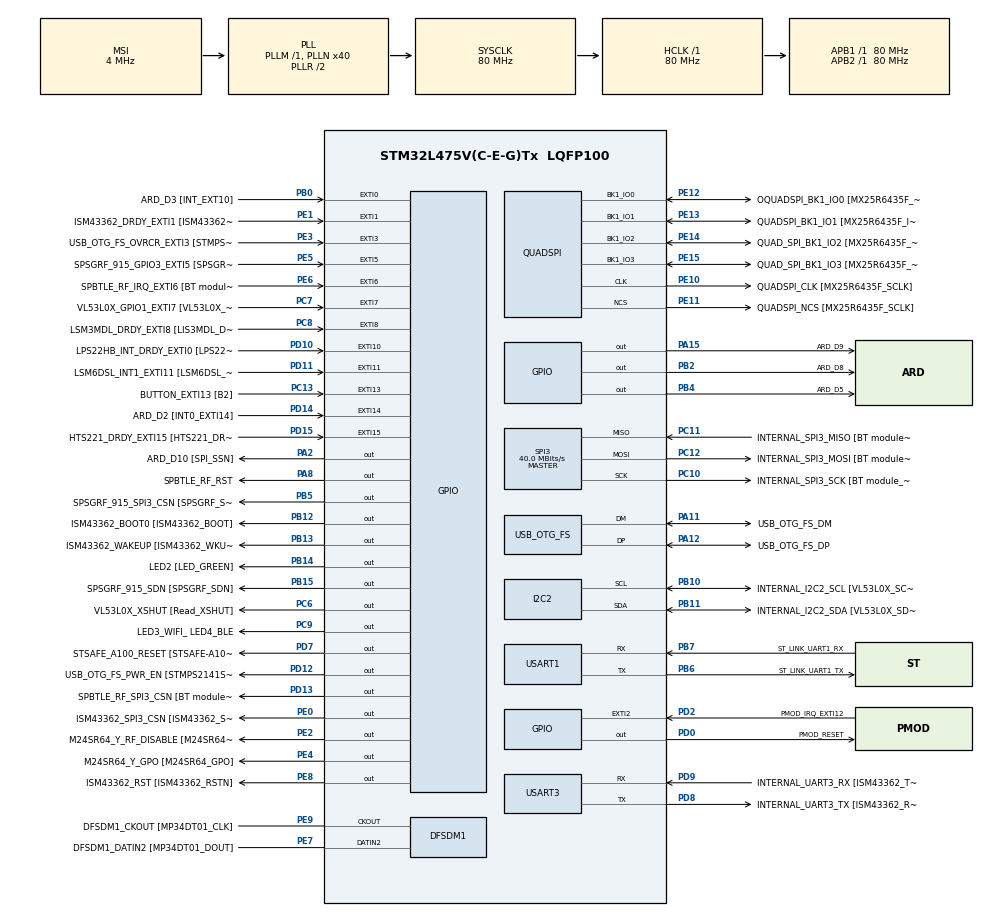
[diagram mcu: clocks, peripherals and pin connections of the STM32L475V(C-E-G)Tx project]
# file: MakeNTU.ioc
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I2C2.Timing=0x10D19CE4
Mcu.Family=STM32L4
Mcu.Name=STM32L475V(C-E-G)Tx
Mcu.Package=LQFP100
NVIC.EXTI15_10_IRQn=true\:0\:0\:false\:false\:true\:true\:true\:true
NVIC.EXTI9_5_IRQn=true\:0\:0\:false\:false\:true\:true\:true\:true
NVIC.PriorityGroup=NVIC_PRIORITYGROUP_4
PA0.GPIO_Label=ARD_D1 [UART4_TX]
PA0.Signal=UART4_TX
PA1.GPIO_Label=ARD_D0 [UART4_RX]
PA1.Signal=UART4_RX
PA10.GPIO_Label=USB_OTG_FS_ID
PA10.Signal=USB_OTG_FS_ID
PA11.GPIO_Label=USB_OTG_FS_DM
PA11.Mode=Device_Only
PA11.Signal=USB_OTG_FS_DM
PA12.GPIO_Label=USB_OTG_FS_DP
PA12.Mode=Device_Only
PA12.Signal=USB_OTG_FS_DP
PA13\ (JTMS-SWDIO).GPIO_Label=SYS_JTMS_SWDIO
PA13\ (JTMS-SWDIO).Mode=Serial_Wire
PA13\ (JTMS-SWDIO).Signal=SYS_JTMS-SWDIO
PA14\ (JTCK-SWCLK).GPIO_Label=SYS_JTCK_SWCLK
PA14\ (JTCK-SWCLK).Mode=Serial_Wire
PA14\ (JTCK-SWCLK).Signal=SYS_JTCK-SWCLK
PA15\ (JTDI).GPIO_Label=ARD_D9
PA15\ (JTDI).Signal=GPIO_Output
PA2.GPIO_Label=ARD_D10 [SPI_SSN]
PA2.Signal=GPIO_Output
PA3.GPIO_Label=ARD_D4
PA3.Signal=S_TIM2_CH4
PA4.GPIO_Label=ARD_D7
PA4.Signal=ADCx_IN9
PA5.GPIO_Label=ARD_D13 [SPI1_SCK]
PA5.Signal=SPI1_SCK
PA6.GPIO_Label=ARD_D12 [SPI1_MISO]
PA6.Signal=SPI1_MISO
PA7.GPIO_Label=ARD_D11 [SPI1_MOSI]
PA7.Signal=SPI1_MOSI
PA8.GPIO_Label=SPBTLE_RF_RST
PA8.Signal=GPIO_Output
PA9.GPIO_Label=USB_OTG_FS_VBUS [STMPS2141STR_OUT]
PA9.Signal=USB_OTG_FS_VBUS
PB0.GPIO_Label=ARD_D3 [INT_EXT10]
PB0.Signal=GPXTI0
PB1.GPIO_Label=ARD_D6 [ADC1_IN6]
PB1.Signal=ADCx_IN16
PB10.GPIO_Label=INTERNAL_I2C2_SCL [VL53L0X_SCL]
PB10.GPIO_Pu=GPIO_PULLUP
PB10.Mode=I2C
PB10.Signal=I2C2_SCL
PB11.GPIO_Label=INTERNAL_I2C2_SDA [VL53L0X_SDA]
PB11.GPIO_Pu=GPIO_PULLUP
PB11.Mode=I2C
PB11.Signal=I2C2_SDA
PB12.GPIO_Label=ISM43362_BOOT0 [ISM43362_BOOT]
PB12.Signal=GPIO_Output
PB13.GPIO_Label=ISM43362_WAKEUP [ISM43362_WKUP]
PB13.Signal=GPIO_Output
PB14.GPIO_Label=LED2 [LED_GREEN]
PB14.Signal=GPIO_Output
PB15.GPIO_Label=SPSGRF_915_SDN [SPSGRF_SDN]
PB15.Signal=GPIO_Output
PB2.GPIO_Label=ARD_D8
PB2.Signal=GPIO_Output
PB3\ (JTDO-TRACESWO).GPIO_Label=SYS_JTD0_SWO
PB3\ (JTDO-TRACESWO).Signal=SYS_JTDO-SWO
PB4\ (NJTRST).GPIO_Label=ARD_D5
PB4\ (NJTRST).Signal=GPIO_Output
PB5.GPIO_Label=SPSGRF_915_SPI3_CSN [SPSGRF_SPI_CS]
PB5.PinState=GPIO_PIN_SET
PB5.Signal=GPIO_Output
PB6.GPIO_Label=ST_LINK_UART1_TX
PB6.Mode=Asynchronous
PB6.Signal=USART1_TX
PB7.GPIO_Label=ST_LINK_UART1_RX
PB7.Mode=Asynchronous
PB7.Signal=USART1_RX
PB8.GPIO_Label=ARD_D15 [I2C1_SCL]
PB8.Signal=I2C1_SCL
PB9.GPIO_Label=ARD_D14 [I2C1_SDA]
PB9.Signal=I2C1_SDA
PC0.GPIO_Label=ARD_A5 [ADC]
PC0.Signal=ADCx_IN1
PC1.GPIO_Label=ARD_A4 [ADC]
PC1.Signal=ADCx_IN2
PC10.GPIO_Label=INTERNAL_SPI3_SCK [BT module_SPI_SCLK] [ISM43362_SCK]
PC10.Mode=Full_Duplex_Master
PC10.Signal=SPI3_SCK
PC11.GPIO_Label=INTERNAL_SPI3_MISO [BT module_SPI_MISO] [ISM43362_MISO]
PC11.Mode=Full_Duplex_Master
PC11.Signal=SPI3_MISO
PC12.GPIO_Label=INTERNAL_SPI3_MOSI [BT module_SPI_MOSI] [ISM43362_MOSI]
PC12.Mode=Full_Duplex_Master
PC12.Signal=SPI3_MOSI
PC13.GPIO_Label=BUTTON_EXTI13 [B2]
PC13.GPIO_ModeDefaultEXTI=GPIO_MODE_IT_FALLING
PC13.Signal=GPXTI13
PC14-OSC32_IN\ (PC14).Mode=LSE-External-Oscillator
PC14-OSC32_IN\ (PC14).Signal=RCC_OSC32_IN
PC15-OSC32_OUT\ (PC15).Mode=LSE-External-Oscillator
PC15-OSC32_OUT\ (PC15).Signal=RCC_OSC32_OUT
PC2.GPIO_Label=ARD_A3 [ADC]
PC2.Signal=ADCx_IN3
PC3.GPIO_Label=ARD_A2 [ADC]
PC3.Signal=ADCx_IN4
PC4.GPIO_Label=ARD_A1 [ADC]
PC4.Signal=ADCx_IN13
PC5.GPIO_Label=ARD_A0 [ADC]
PC5.Signal=ADCx_IN14
PC6.GPIO_Label=VL53L0X_XSHUT [Read_XSHUT]
PC6.Signal=GPIO_Output
PC7.GPIO_Label=VL53L0X_GPIO1_EXTI7 [VL53L0X_GPIO1]
PC7.Signal=GPXTI7
PC8.GPIO_Label=LSM3MDL_DRDY_EXTI8 [LIS3MDL_DRDY]
PC8.Signal=GPXTI8
PC9.GPIO_Label=LED3_WIFI_ LED4_BLE
PC9.Signal=GPIO_Output
PD0.GPIO_Label=PMOD_RESET
PD0.Signal=GPIO_Output
PD1.GPIO_Label=PMOD_SPI2_SCK
PD1.Signal=SPI2_SCK
PD10.GPIO_Label=LPS22HB_INT_DRDY_EXTI0 [LPS22HB_INT_DRDY] 
PD10.Signal=GPXTI10
PD11.GPIO_Label=LSM6DSL_INT1_EXTI11 [LSM6DSL_INT1]
PD11.Signal=GPXTI11
PD12.GPIO_Label=USB_OTG_FS_PWR_EN [STMPS2141STR_EN]
PD12.Signal=GPIO_Output
PD13.GPIO_Label=SPBTLE_RF_SPI3_CSN [BT module_SPI_CS]
PD13.PinState=GPIO_PIN_SET
PD13.Signal=GPIO_Output
PD14.GPIO_Label=ARD_D2 [INT0_EXTI14]
PD14.Signal=GPXTI14
PD15.GPIO_Label=HTS221_DRDY_EXTI15 [HTS221_DRDY]
PD15.Signal=GPXTI15
PD2.GPIO_Label=PMOD_IRQ_EXTI12
PD2.Signal=GPXTI2
PD3.GPIO_Label=PMOD_UART2_CTS
PD3.Signal=USART2_CTS
PD4.GPIO_Label=PMOD_UART2_RTS
PD4.Signal=USART2_RTS
PD5.GPIO_Label=PMOD_UART2_TX
PD5.Signal=USART2_TX
PD6.GPIO_Label=PMOD_UART2_RX
PD6.Signal=USART2_RX
PD7.GPIO_Label=STSAFE_A100_RESET [STSAFE-A100_RESET]
PD7.Signal=GPIO_Output
PD8.GPIO_Label=INTERNAL_UART3_TX [ISM43362_RX]
PD8.Mode=Asynchronous
PD8.Signal=USART3_TX
PD9.GPIO_Label=INTERNAL_UART3_RX [ISM43362_TX]
PD9.Mode=Asynchronous
PD9.Signal=USART3_RX
PE0.GPIO_Label=ISM43362_SPI3_CSN [ISM43362_SSN]
PE0.PinState=GPIO_PIN_SET
PE0.Signal=GPIO_Output
PE1.GPIO_Label=ISM43362_DRDY_EXTI1 [ISM43362_DATARDY]
PE1.Signal=GPXTI1
PE10.GPIO_Label=QUADSPI_CLK [MX25R6435F_SCLK]
PE10.Mode=Single Bank
PE10.Signal=QUADSPI_CLK
PE11.GPIO_Label=QUADSPI_NCS [MX25R6435F_SCLK]
PE11.Mode=Single Bank
PE11.Signal=QUADSPI_NCS
PE12.GPIO_Label=OQUADSPI_BK1_IO0 [MX25R6435F_IO0]
PE12.Mode=Single Bank
PE12.Signal=QUADSPI_BK1_IO0
PE13.GPIO_Label=QUADSPI_BK1_IO1 [MX25R6435F_IO1]
PE13.Mode=Single Bank
PE13.Signal=QUADSPI_BK1_IO1
PE14.GPIO_Label=QUAD_SPI_BK1_IO2 [MX25R6435F_IO2]
PE14.Mode=Single Bank
PE14.Signal=QUADSPI_BK1_IO2
PE15.GPIO_Label=QUAD_SPI_BK1_IO3 [MX25R6435F_IO3]
PE15.Mode=Single Bank
PE15.Signal=QUADSPI_BK1_IO3
PE2.GPIO_Label=M24SR64_Y_RF_DISABLE [M24SR64_RFDIS]
PE2.Signal=GPIO_Output
PE3.GPIO_Label=USB_OTG_FS_OVRCR_EXTI3 [STMPS2141STR_FAULT]
PE3.Signal=GPXTI3
PE4.GPIO_Label=M24SR64_Y_GPO [M24SR64_GPO]
PE4.Signal=GPIO_Output
PE5.GPIO_Label=SPSGRF_915_GPIO3_EXTI5 [SPSGRF_GPIO_3]
PE5.Signal=GPXTI5
PE6.GPIO_Label=SPBTLE_RF_IRQ_EXTI6 [BT module_SPI_IRQ]
PE6.Signal=GPXTI6
PE7.GPIO_Label=DFSDM1_DATIN2 [MP34DT01_DOUT]
PE7.Signal=S_DATAIN2DFSDM1
PE8.GPIO_Label=ISM43362_RST [ISM43362_RSTN]
PE8.Signal=GPIO_Output
PE9.GPIO_Label=DFSDM1_CKOUT [MP34DT01_CLK]
PE9.Signal=S_CKOUTDFSDM1
ProjectManager.HeapSize=0x200
ProjectManager.StackSize=0x400
ProjectManager.TargetToolchain=STM32CubeIDE
QUADSPI.ClockPrescaler=2
QUADSPI.FifoThreshold=4
QUADSPI.FlashSize=23
QUADSPI.SampleShifting=QSPI_SAMPLE_SHIFTING_HALFCYCLE
RCC.ADCFreq_Value=48000000
RCC.AHBFreq_Value=80000000
RCC.APB1Freq_Value=80000000
RCC.APB1TimFreq_Value=80000000
RCC.APB2Freq_Value=80000000
RCC.APB2TimFreq_Value=80000000
RCC.CortexFreq_Value=80000000
RCC.HCLKFreq_Value=80000000
RCC.HSE_VALUE=8000000
RCC.HSI_VALUE=16000000
RCC.MSI_VALUE=4000000
RCC.PLLN=40
RCC.PLLSAI1N=24
RCC.SYSCLKFreq_VALUE=80000000
RCC.SYSCLKSource=RCC_SYSCLKSOURCE_PLLCLK
RCC.USBFreq_Value=48000000
RCC.VCOOutputFreq_Value=160000000
SH.ADCx_IN1.0=ADC1_IN1
SH.ADCx_IN13.0=ADC1_IN13
SH.ADCx_IN14.0=ADC1_IN14
SH.ADCx_IN16.0=ADC1_IN16
SH.ADCx_IN2.0=ADC1_IN2
SH.ADCx_IN3.0=ADC1_IN3
SH.ADCx_IN4.0=ADC1_IN4
SH.ADCx_IN9.0=ADC1_IN9
SH.S_CKOUTDFSDM1.0=DFSDM1_CKOUT,CKOUT
SH.S_CKOUTDFSDM1.1=DFSDM1_CKOUT,PDM_SPI_Input_from_ch12_and_Internal_Clock
SH.S_DATAIN2DFSDM1.0=DFSDM1_DATIN2,PDM_SPI_Input_from_ch12_and_Internal_Clock
SH.S_TIM2_CH4.0=TIM2_CH4
SPI3.CalculateBaudRate=40.0 MBits/s
SPI3.Direction=SPI_DIRECTION_2LINES
SPI3.Mode=SPI_MODE_MASTER
SPI3.VirtualType=VM_MASTER
USART1.VirtualMode-Asynchronous=VM_ASYNC
USART3.VirtualMode-Asynchronous=VM_ASYNC
USB_OTG_FS.VirtualMode=Device_Only
board=B-L475E-IOT01A2

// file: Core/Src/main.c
/* USER CODE BEGIN Header */
/**
  ******************************************************************************
  * @file           : main.c
  * @brief          : Main program body
  ******************************************************************************
  * @attention
  *
  * Copyright (c) 2026 STMicroelectronics.
  * All rights reserved.
  *
  * This software is licensed under terms that can be found in the LICENSE file
  * in the root directory of this software component.
  * If no LICENSE file comes with this software, it is provided AS-IS.
  *
  ******************************************************************************
  */
/* USER CODE END Header */
#include "main.h"

/* USER CODE BEGIN Includes */

#include "stm32l4xx_hal_adc_ex.h"
#include <stdio.h>
#include <string.h>
#if APP_USE_WIFI
#include "wifi.h"
#endif
#include "app_ws2812.h"

/* USER CODE END Includes */

DFSDM_Channel_HandleTypeDef hdfsdm1_channel1;

I2C_HandleTypeDef hi2c2;

QSPI_HandleTypeDef hqspi;

SPI_HandleTypeDef hspi3;

UART_HandleTypeDef huart1;
UART_HandleTypeDef huart3;

PCD_HandleTypeDef hpcd_USB_OTG_FS;

/* USER CODE BEGIN PV */

ADC_HandleTypeDef hadc1;
DMA_HandleTypeDef hdma_adc1;

static uint16_t adc_dma_buffer[APP_ADC_DMA_BUFFER_SAMPLES];
static uint16_t s_hit_thr_high[2] = { APP_EMG_HIT_THRESHOLD_HIGH, APP_EMG_HIT_THRESHOLD_HIGH };
static uint16_t s_hit_thr_low[2] = { APP_EMG_HIT_THRESHOLD_LOW, APP_EMG_HIT_THRESHOLD_LOW };
static volatile uint8_t s_calib_request = 0U;
static uint8_t s_calibrating = 0U;
static uint32_t s_calib_start_ms = 0U;
static uint32_t s_calib_last_report_ms = 0U;
static uint64_t s_calib_sum[2] = { 0U, 0U };
static uint32_t s_calib_count = 0U;
static uint32_t s_effort_event_id = 0U;

#if APP_USE_WIFI
static const uint8_t s_wifi_remote_ip[4] = {
  APP_WIFI_REMOTE_IP0,
  APP_WIFI_REMOTE_IP1,
  APP_WIFI_REMOTE_IP2,
  APP_WIFI_REMOTE_IP3,
};
static int32_t s_wifi_socket = -1;
static uint16_t s_wifi_sent = 0U;
static uint8_t s_wifi_ap_ok = 0U;
#endif

/* USER CODE END PV */

void SystemClock_Config(void);
static void MX_GPIO_Init(void);
static void MX_DFSDM1_Init(void);
static void MX_I2C2_Init(void);
static void MX_QUADSPI_Init(void);
#if !APP_USE_WIFI
static void MX_SPI3_Init(void);
#endif
static void MX_USART1_UART_Init(void);
static void MX_USART3_UART_Init(void);
static void MX_USB_OTG_FS_PCD_Init(void);
/* USER CODE BEGIN PFP */

static void App_ADC_WithDma_Init(void);
static void App_AdcTriggerTimer_InitStart(void);
#if APP_USE_WIFI
static void App_DebugUart1(const char *msg);
static WIFI_Status_t App_TryWifiConnect(void);
static WIFI_Status_t App_WifiSendAll(const uint8_t *buf, uint16_t len, uint32_t timeout_ms);
static void App_WifiPollPcRx(void);
#endif

/* USER CODE END PFP */

/* USER CODE BEGIN 0 */

#if APP_USE_WIFI
static void App_DebugUart1(const char *msg)
{
  if (msg == NULL)
  {
    return;
  }
  (void)HAL_UART_Transmit(&huart1, (uint8_t *)msg, (uint16_t)strlen(msg), 400U);
}

static WIFI_Status_t App_TryWifiConnect(void)
{
  static const WIFI_Ecn_t ecn_list[] = {
    WIFI_ECN_WPA2_PSK,
    WIFI_ECN_WPA_WPA2_PSK,
    WIFI_ECN_WPA_PSK,
    WIFI_ECN_OPEN
  };
  static const char *ecn_name[] = {
    "WPA2_PSK",
    "WPA_WPA2_PSK",
    "WPA_PSK",
    "OPEN"
  };

  for (uint32_t i = 0; i < (uint32_t)(sizeof(ecn_list) / sizeof(ecn_list[0])); i++)
  {
    char msg[64];
    const char *pwd = APP_WIFI_PASSWORD;
    WIFI_Status_t st;
    if (ecn_list[i] == WIFI_ECN_OPEN)
    {
      pwd = "";
    }
    (void)snprintf(msg, sizeof(msg), "[WiFi] connect try ECN=%s\r\n", ecn_name[i]);
    App_DebugUart1(msg);
    st = WIFI_Connect(APP_WIFI_SSID, pwd, ecn_list[i]);
    (void)snprintf(msg, sizeof(msg), "[WiFi] connect status=%d\r\n", (int)st);
    App_DebugUart1(msg);
    if (st == WIFI_STATUS_OK)
    {
      (void)snprintf(msg, sizeof(msg), "[WiFi] connect ok with ECN=%s\r\n", ecn_name[i]);
      App_DebugUart1(msg);
      return WIFI_STATUS_OK;
    }
  }
  return WIFI_STATUS_ERROR;
}

static WIFI_Status_t App_WifiSendAll(const uint8_t *buf, uint16_t len, uint32_t timeout_ms)
{
  uint16_t sent_total = 0U;
  uint16_t sent_once = 0U;
  uint8_t guard = 0U;

  if ((buf == NULL) || (len == 0U) || (s_wifi_socket < 0))
  {
    return WIFI_STATUS_ERROR;
  }

  while (sent_total < len)
  {
    const WIFI_Status_t st = WIFI_SendData((uint32_t)s_wifi_socket, &buf[sent_total],
                                           (uint16_t)(len - sent_total), &sent_once, timeout_ms);
    if ((st != WIFI_STATUS_OK) || (sent_once == 0U))
    {
      return WIFI_STATUS_ERROR;
    }
    sent_total = (uint16_t)(sent_total + sent_once);
    if (++guard > 8U)
    {
      return WIFI_STATUS_ERROR;
    }
  }
  s_wifi_sent = sent_total;
  return WIFI_STATUS_OK;
}

static char s_pc_rxbuf[96];
static size_t s_pc_rxlen = 0U;

static void App_ParsePcCmdLine(char *line)
{
  while ((*line == ' ') || (*line == '\t'))
  {
    line++;
  }
  if (strncmp(line, "jdg:", 4) != 0)
  {
#if APP_PC_RX_LOG_UART
    if (line[0] != '\0')
    {
      char msg[120];
      (void)snprintf(msg, sizeof(msg), "[PC] tcp rx (not jdg): %.80s\r\n", line);
      App_DebugUart1(msg);
    }
#endif
    return;
  }
  line += 4;
  while ((*line == ' ') || (*line == '\t'))
  {
    line++;
  }
  if (strncmp(line, "perfect", 7) == 0)
  {
#if APP_USE_WS2812_JDG
    App_Ws2812_SetJudge("perfect");
#endif
    App_DebugUart1("[PC] jdg:perfect -> LED green (WS2812)\r\n");
  }
  else if (strncmp(line, "good", 4) == 0)
  {
#if APP_USE_WS2812_JDG
    App_Ws2812_SetJudge("good");
#endif
    App_DebugUart1("[PC] jdg:good -> LED yellow\r\n");
  }
  else if ((strncmp(line, "miss", 4) == 0) || (strncmp(line, "bad", 3) == 0))
  {
#if APP_USE_WS2812_JDG
    App_Ws2812_SetJudge("miss");
#endif
    App_DebugUart1("[PC] jdg:miss -> LED red\r\n");
  }
  else if (strncmp(line, "off", 3) == 0)
  {
#if APP_USE_WS2812_JDG
    App_Ws2812_SetJudge("off");
#endif
    App_DebugUart1("[PC] jdg:off -> LED clear\r\n");
  }
  else
  {
    char msg[120];
    (void)snprintf(msg, sizeof(msg), "[PC] jdg:? unknown arg: %.48s\r\n", line);
    App_DebugUart1(msg);
  }
}

static void App_AppendPcRxByte(uint8_t b)
{
  const char c = (char)b;
  if ((c == '\r') || (c == '\n'))
  {
    if (s_pc_rxlen < sizeof(s_pc_rxbuf))
    {
      s_pc_rxbuf[s_pc_rxlen] = '\0';
    }
    else
    {
      s_pc_rxbuf[sizeof(s_pc_rxbuf) - 1U] = '\0';
    }
    if (s_pc_rxlen > 0U)
    {
      App_ParsePcCmdLine(s_pc_rxbuf);
    }
    s_pc_rxlen = 0U;
    return;
  }
  if (s_pc_rxlen + 1U < sizeof(s_pc_rxbuf))
  {
    s_pc_rxbuf[s_pc_rxlen++] = (char)c;
  }
  else
  {
    s_pc_rxlen = 0U;
  }
}

static void App_WifiPollPcRx(void)
{
  if (s_wifi_socket < 0)
  {
    return;
  }
  for (;;)
  {
    uint8_t chunk[48];
    uint16_t n = 0U;
    const WIFI_Status_t st = WIFI_ReceiveData((uint32_t)s_wifi_socket, chunk, (uint16_t)sizeof(chunk), &n, 1U);
    if ((st != WIFI_STATUS_OK) || (n == 0U))
    {
      break;
    }
    for (uint16_t i = 0U; i < n; i++)
    {
      App_AppendPcRxByte(chunk[i]);
    }
  }
}
#endif

/**
 * Latest interleaved ADC pair (rank1=A0 PC5 IN14, rank2=A1 PC4 IN13).
 * Applies light IIR smoothing per channel (~same as legacy single-channel).
 */
static void App_AdcLatestSmoothed(uint16_t *out_avg0, uint16_t *out_avg1)
{
  static int32_t avg_q8[2] = { 0, 0 };
  uint32_t wr = APP_ADC_DMA_BUFFER_SAMPLES - __HAL_DMA_GET_COUNTER(&hdma_adc1);

  if (wr < 2U)
  {
    wr = APP_ADC_DMA_BUFFER_SAMPLES;
  }

  wr = ((wr / 2U) * 2U);
  if (wr < 2U)
  {
    wr = APP_ADC_DMA_BUFFER_SAMPLES;
  }

  const uint16_t x0 = adc_dma_buffer[wr - 2U];
  const uint16_t x1 = adc_dma_buffer[wr - 1U];

  for (uint32_t i = 0U; i < 2U; i++)
  {
    const uint16_t x = (i == 0U) ? x0 : x1;
    avg_q8[i] += ((((int32_t)x) << 8) - avg_q8[i]) >> 3;
    if (avg_q8[i] < 0)
    {
      avg_q8[i] = 0;
    }
    if (avg_q8[i] > (4095 << 8))
    {
      avg_q8[i] = (4095 << 8);
    }
  }
  *out_avg0 = (uint16_t)(avg_q8[0] >> 8);
  *out_avg1 = (uint16_t)(avg_q8[1] >> 8);
}

static uint8_t App_EmgHitDetectCh(uint8_t ch, uint16_t pulse, uint32_t now_ms)
{
  static uint8_t armed[2] = { 1U, 1U };
  static uint32_t last_hit_ms[2] = { 0U, 0U };
  static uint16_t prev_pulse[2] = { 0U, 0U };
  uint16_t rise = 0U;

  if (ch >= 2U)
  {
    return 0U;
  }

  if (pulse > prev_pulse[ch])
  {
    rise = (uint16_t)(pulse - prev_pulse[ch]);
  }
  prev_pulse[ch] = pulse;

  if ((now_ms - last_hit_ms[ch]) < APP_EMG_HIT_COOLDOWN_MS)
  {
    return 0U;
  }

  if (armed[ch] != 0U)
  {
    if ((pulse >= s_hit_thr_high[ch]) && (rise >= APP_EMG_HIT_MIN_RISE))
    {
      armed[ch] = 0U;
      last_hit_ms[ch] = now_ms;
      return 1U;
    }
  }
  else if (pulse <= s_hit_thr_low[ch])
  {
    armed[ch] = 1U;
  }

  return 0U;
}

static uint8_t App_UpdateEffortEvent(uint16_t level, uint32_t now_ms, char *out, size_t out_len)
{
  static uint8_t active = 0U;
  static uint32_t event_start_ms = 0U;
  static uint32_t high_time_ms = 0U;
  static uint32_t peak = 0U;
  static uint32_t first_high_ms = 0U;
  static uint32_t last_update_ms = 0U;
  static uint32_t below_since_ms = 0U;
  const uint8_t above_low = (level >= s_hit_thr_low[0]) ? 1U : 0U;
  const uint8_t above_high = (level >= s_hit_thr_high[0]) ? 1U : 0U;
  const uint32_t dt = (last_update_ms == 0U) ? APP_ADC_TX_PERIOD_MS : (now_ms - last_update_ms);
  last_update_ms = now_ms;

  if (active == 0U)
  {
    if (above_low != 0U)
    {
      active = 1U;
      event_start_ms = now_ms;
      high_time_ms = 0U;
      peak = level;
      first_high_ms = 0U;
      below_since_ms = 0U;
      if (above_high != 0U)
      {
        first_high_ms = now_ms;
        high_time_ms = dt;
      }
    }
    return 0U;
  }

  if (level > peak)
  {
    peak = level;
  }
  if (above_high != 0U)
  {
    if (first_high_ms == 0U)
    {
      first_high_ms = now_ms;
    }
    high_time_ms += dt;
    below_since_ms = 0U;
  }
  else if ((above_low == 0U) && (below_since_ms == 0U))
  {
    below_since_ms = now_ms;
  }
  else if (above_low != 0U)
  {
    below_since_ms = 0U;
  }

  if ((below_since_ms != 0U) && ((now_ms - below_since_ms) >= APP_EMG_EVENT_END_GAP_MS))
  {
    const uint32_t rise_ms = (first_high_ms > event_start_ms) ? (first_high_ms - event_start_ms) : 0U;
    const int n = snprintf(out, out_len, "evt:%lu high_ms:%lu peak:%lu rise_ms:%lu\r\n",
                           (unsigned long)(++s_effort_event_id),
                           (unsigned long)high_time_ms,
                           (unsigned long)peak,
                           (unsigned long)rise_ms);
    active = 0U;
    return (n > 0) ? 1U : 0U;
  }
  return 0U;
}

static void App_StartCalibration(uint32_t now_ms)
{
  const char *msg = "[CAL] start 10s relax — calibrate BOTH A0 + A1 (relax both sensors)\r\n";
  s_calibrating = 1U;
  s_calib_start_ms = now_ms;
  s_calib_last_report_ms = now_ms;
  s_calib_sum[0] = 0U;
  s_calib_sum[1] = 0U;
  s_calib_count = 0U;
  (void)HAL_UART_Transmit(&huart1, (uint8_t *)msg, (uint16_t)strlen(msg), 100U);
}

static void App_HandleCalibration(uint16_t avg0, uint16_t avg1, uint32_t now_ms)
{
  if (s_calibrating == 0U)
  {
    return;
  }

  s_calib_sum[0] += (uint64_t)avg0;
  s_calib_sum[1] += (uint64_t)avg1;
  s_calib_count++;

  if ((now_ms - s_calib_last_report_ms) >= 1000U)
  {
    char msg[64];
    const uint32_t elapsed = now_ms - s_calib_start_ms;
    const uint32_t left = (elapsed < APP_EMG_CALIBRATION_MS) ? (APP_EMG_CALIBRATION_MS - elapsed) : 0U;
    const int n = snprintf(msg, sizeof(msg), "[CAL] %lus left\r\n", (unsigned long)(left / 1000U));
    if (n > 0)
    {
      (void)HAL_UART_Transmit(&huart1, (uint8_t *)msg, (uint16_t)n, 100U);
    }
    s_calib_last_report_ms = now_ms;
  }

  if ((now_ms - s_calib_start_ms) >= APP_EMG_CALIBRATION_MS)
  {
    char msg[132];
    s_calibrating = 0U;

    if (s_calib_count > 0U)
    {
      for (uint32_t c = 0U; c < 2U; c++)
      {
        uint32_t baseline = (uint32_t)(s_calib_sum[c] / (uint64_t)s_calib_count);
        uint32_t low = baseline + APP_EMG_LOW_OFFSET;
        uint32_t high = baseline + APP_EMG_HIGH_OFFSET;
        if (low > 4095U)
        {
          low = 4095U;
        }
        if (high > 4095U)
        {
          high = 4095U;
        }
        if (high <= low)
        {
          high = (low < 4095U) ? (low + 1U) : 4095U;
        }
        s_hit_thr_low[c] = (uint16_t)low;
        s_hit_thr_high[c] = (uint16_t)high;

        (void)snprintf(msg, sizeof(msg), "[CAL] %s base=%lu L=%u H=%u\r\n",
                       (c == 0U) ? "A0(red)" : "A1(blue)",
                       (unsigned long)baseline, (unsigned)s_hit_thr_low[c], (unsigned)s_hit_thr_high[c]);
        (void)HAL_UART_Transmit(&huart1, (uint8_t *)msg, (uint16_t)strlen(msg), 100U);
      }
    }
  }
}

static void App_AdcTriggerTimer_InitStart(void)
{
  const uint32_t tim_clk = HAL_RCC_GetPCLK1Freq();
  const uint32_t tick_hz = 1000000U; /* 1 MHz timer tick for exact 1 kHz period math */
  const uint32_t psc = (tim_clk / tick_hz);
  const uint32_t arr = (tick_hz / APP_ADC_SAMPLE_RATE_HZ);

  if ((psc == 0U) || (arr == 0U))
  {
    Error_Handler();
  }

  __HAL_RCC_TIM6_CLK_ENABLE();
  TIM6->CR1 = 0U;
  TIM6->PSC = psc - 1U;
  TIM6->ARR = arr - 1U;
  TIM6->CR2 = (TIM6->CR2 & ~(7U << 4)) | (2U << 4); /* MMS=010: TRGO on update */
  TIM6->EGR = 1U;  /* UG: load prescaler/arr immediately */
  TIM6->SR = 0U;
}

static void App_ADC_WithDma_Init(void)
{
  ADC_MultiModeTypeDef multimode = {0};
  ADC_ChannelConfTypeDef sConfig = {0};

  hadc1.Instance = ADC1;
  hadc1.Init.ClockPrescaler = ADC_CLOCK_SYNC_PCLK_DIV4;
  hadc1.Init.Resolution = ADC_RESOLUTION_12B;
  hadc1.Init.DataAlign = ADC_DATAALIGN_RIGHT;
  hadc1.Init.ScanConvMode = ADC_SCAN_ENABLE;
  hadc1.Init.EOCSelection = ADC_EOC_SEQ_CONV;
  hadc1.Init.LowPowerAutoWait = DISABLE;
  hadc1.Init.ContinuousConvMode = DISABLE;
  hadc1.Init.NbrOfConversion = 2;
  hadc1.Init.DiscontinuousConvMode = DISABLE;
  hadc1.Init.ExternalTrigConv = ADC_EXTERNALTRIG_T6_TRGO;
  hadc1.Init.ExternalTrigConvEdge = ADC_EXTERNALTRIGCONVEDGE_RISING;
  hadc1.Init.DMAContinuousRequests = ENABLE;
  hadc1.Init.Overrun = ADC_OVR_DATA_OVERWRITTEN;
  hadc1.Init.OversamplingMode = DISABLE;
  if (HAL_ADC_Init(&hadc1) != HAL_OK)
  {
    Error_Handler();
  }

  multimode.Mode = ADC_MODE_INDEPENDENT;
  if (HAL_ADCEx_MultiModeConfigChannel(&hadc1, &multimode) != HAL_OK)
  {
    Error_Handler();
  }

  /* ARD_A0: PC5 = ADC1_IN14  |  ARD_A1: PC4 = ADC1_IN13 (one ADC, scan order per TIM6 tick) */
  sConfig.Channel = ADC_CHANNEL_14;
  sConfig.Rank = ADC_REGULAR_RANK_1;
  sConfig.SamplingTime = ADC_SAMPLETIME_47CYCLES_5;
  sConfig.SingleDiff = ADC_SINGLE_ENDED;
  sConfig.OffsetNumber = ADC_OFFSET_NONE;
  sConfig.Offset = 0;
  if (HAL_ADC_ConfigChannel(&hadc1, &sConfig) != HAL_OK)
  {
    Error_Handler();
  }

  sConfig.Channel = ADC_CHANNEL_13;
  sConfig.Rank = ADC_REGULAR_RANK_2;
  if (HAL_ADC_ConfigChannel(&hadc1, &sConfig) != HAL_OK)
  {
    Error_Handler();
  }

  __HAL_RCC_DMA1_CLK_ENABLE();
  /*
   * Older stm32l475xx.h packs omit RCC_AHB1ENR_DMAMUX1EN / DMAMUX1; chip still has DMAMUX (RM0351).
   */
#if defined(DMAMUX1)
  __HAL_RCC_DMAMUX1_CLK_ENABLE();
#else
  SET_BIT(RCC->AHB1ENR, 0x00000004UL);
  (void)READ_BIT(RCC->AHB1ENR, 0x00000004UL);
#endif

  hdma_adc1.Instance = DMA1_Channel1;
#if defined(DMAMUX1)
  hdma_adc1.Init.Request = DMA_REQUEST_ADC1;
#else
  /*
   * When CMSIS omits DMAMUX1, HAL configures DMA via DMA1_CSELR (4-bit index per channel), not DMAMUX
   * request line IDs. ST's STM32L4 ADC+DMA examples (e.g. NUCLEO-L496) use C1S = 0 for ADC1 -> DMA1 Ch1.
   */
  hdma_adc1.Init.Request = DMA_REQUEST_0;
#endif
  hdma_adc1.Init.Direction = DMA_PERIPH_TO_MEMORY;
  hdma_adc1.Init.PeriphInc = DMA_PINC_DISABLE;
  hdma_adc1.Init.MemInc = DMA_MINC_ENABLE;
  hdma_adc1.Init.PeriphDataAlignment = DMA_PDATAALIGN_HALFWORD;
  hdma_adc1.Init.MemDataAlignment = DMA_MDATAALIGN_HALFWORD;
  hdma_adc1.Init.Mode = DMA_CIRCULAR;
  hdma_adc1.Init.Priority = DMA_PRIORITY_HIGH;
  if (HAL_DMA_Init(&hdma_adc1) != HAL_OK)
  {
    Error_Handler();
  }

  __HAL_LINKDMA(&hadc1, DMA_Handle, hdma_adc1);

  if (HAL_ADCEx_Calibration_Start(&hadc1, ADC_SINGLE_ENDED) != HAL_OK)
  {
    Error_Handler();
  }

  HAL_NVIC_SetPriority(DMA1_Channel1_IRQn, 5, 0);
  HAL_NVIC_EnableIRQ(DMA1_Channel1_IRQn);

  App_AdcTriggerTimer_InitStart();

  if (HAL_ADC_Start_DMA(&hadc1, (uint32_t *)adc_dma_buffer, APP_ADC_DMA_BUFFER_SAMPLES) != HAL_OK)
  {
    Error_Handler();
  }
  TIM6->CR1 |= 1U; /* CEN: start 1kHz trigger timer */
}

/* USER CODE END 0 */

int main(void)
{

  /* MCU Configuration--------------------------------------------------------*/

  /* Reset of all peripherals, Initializes the Flash interface and the Systick. */
  HAL_Init();

  /* Configure the system clock */
  SystemClock_Config();

  /* Initialize all configured peripherals */
  MX_GPIO_Init();
  MX_DFSDM1_Init();
  MX_I2C2_Init();
  MX_QUADSPI_Init();
#if !APP_USE_WIFI
  MX_SPI3_Init();
#endif
  MX_USART1_UART_Init();
  MX_USART3_UART_Init();
  MX_USB_OTG_FS_PCD_Init();
  /* USER CODE BEGIN 2 */

#if APP_USE_WIFI
  /* EsWifi owns SPI3, NSS/SPI_GPIO, ISR (see SPI_WIFI_Init). Do not call MX_SPI3_Init when APP_USE_WIFI=1. */
  App_DebugUart1("[WiFi] init...\r\n");
  if (WIFI_Init() != WIFI_STATUS_OK)
  {
    App_DebugUart1("[WiFi] WIFI_Init FAILED\r\n");
  }
  else
  {
    App_DebugUart1("[WiFi] joining AP...\r\n");
    if (App_TryWifiConnect() != WIFI_STATUS_OK)
    {
      App_DebugUart1("[WiFi] WIFI_Connect FAILED (SSID/pwd/security?/2.4GHz/WPA3-only)\r\n");
    }
    else
    {
      s_wifi_ap_ok = 1U;
      uint8_t sta[4] = {0};
      if (WIFI_GetIP_Address(sta, 4U) == WIFI_STATUS_OK)
      {
        char ipmsg[56];
        (void)snprintf(ipmsg, sizeof(ipmsg), "[WiFi] STA IP %u.%u.%u.%u\r\n",
                       (unsigned)sta[0], (unsigned)sta[1], (unsigned)sta[2], (unsigned)sta[3]);
        App_DebugUart1(ipmsg);
      }
      {
        char tgt[56];
        (void)snprintf(tgt, sizeof(tgt), "[WiFi] TCP target %u.%u.%u.%u:%u\r\n",
                       (unsigned)APP_WIFI_REMOTE_IP0, (unsigned)APP_WIFI_REMOTE_IP1,
                       (unsigned)APP_WIFI_REMOTE_IP2, (unsigned)APP_WIFI_REMOTE_IP3,
                       (unsigned)APP_WIFI_REMOTE_PORT);
        App_DebugUart1(tgt);
      }
      App_DebugUart1("[WiFi] open TCP client (is Python listening? firewall?)\r\n");
      uint8_t tries = 20U;
      while (tries-- > 0U)
      {
        if (WIFI_OpenClientConnection(0U, WIFI_TCP_PROTOCOL, "adc_tcp", s_wifi_remote_ip,
                                      APP_WIFI_REMOTE_PORT, 0U) == WIFI_STATUS_OK)
        {
          s_wifi_socket = 0;
          App_DebugUart1("[WiFi] TCP connected -> hit:a0 (red) + hit:a1 (blue)\r\n");
          break;
        }
        HAL_Delay(250);
      }
      if (s_wifi_socket < 0)
      {
        App_DebugUart1("[WiFi] TCP FAILED (fix PC IP in main.h, port, run Python first, allow firewall)\r\n");
      }
    }
  }
#endif
  App_ADC_WithDma_Init();
  {
    char msg[80];
    const int n = snprintf(msg, sizeof(msg), "[ADC] sampling=%luHz tx=%lums\r\n",
                           (unsigned long)APP_ADC_SAMPLE_RATE_HZ, (unsigned long)APP_ADC_TX_PERIOD_MS);
    if (n > 0)
    {
      (void)HAL_UART_Transmit(&huart1, (uint8_t *)msg, (uint16_t)((size_t)n), 100U);
    }
  }

  App_Ws2812_Init();

  /* USER CODE END 2 */

  /* Infinite loop */
  while (1)
  {

    /* USER CODE BEGIN 3 */

    static uint32_t last_tx_ms;
    const uint32_t now = HAL_GetTick();
#if APP_USE_WIFI
    App_WifiPollPcRx();
#endif
#if APP_USE_WS2812_JDG
    App_Ws2812_Tick(now);
#endif
    if (s_calib_request != 0U)
    {
      s_calib_request = 0U;
      App_StartCalibration(now);
    }
    if ((now - last_tx_ms) >= APP_ADC_TX_PERIOD_MS)
    {
      last_tx_ms = now;
      uint16_t avg0 = 0U;
      uint16_t avg1 = 0U;
      App_AdcLatestSmoothed(&avg0, &avg1);

      App_HandleCalibration(avg0, avg1, now);

      const uint8_t hit0 = (s_calibrating != 0U) ? 0U : App_EmgHitDetectCh(0U, avg0, now);
      const uint8_t hit1 = (s_calibrating != 0U) ? 0U : App_EmgHitDetectCh(1U, avg1, now);

      char evt_line[96];
      const uint8_t evt_ready = (s_calibrating != 0U) ? 0U : App_UpdateEffortEvent(avg0, now, evt_line, sizeof(evt_line));

      char hit_line[2][72];
      size_t hit_len[2] = { 0U, 0U };

      if (hit0 != 0U)
      {
        const int n = snprintf(hit_line[0], sizeof(hit_line[0]),
                               "hit:a0 avg:%4u L:%u H:%u\r\n",
                               (unsigned)avg0, (unsigned)s_hit_thr_low[0], (unsigned)s_hit_thr_high[0]);
        if (n > 0)
        {
          hit_len[0] = ((size_t)n < sizeof(hit_line[0])) ? (size_t)n : sizeof(hit_line[0]);
        }
      }
      if (hit1 != 0U)
      {
        const int n = snprintf(hit_line[1], sizeof(hit_line[1]),
                               "hit:a1 avg:%4u L:%u H:%u\r\n",
                               (unsigned)avg1, (unsigned)s_hit_thr_low[1], (unsigned)s_hit_thr_high[1]);
        if (n > 0)
        {
          hit_len[1] = ((size_t)n < sizeof(hit_line[1])) ? (size_t)n : sizeof(hit_line[1]);
        }
      }

      if (hit_len[0] > 0U)
      {
        (void)HAL_UART_Transmit(&huart1, (uint8_t *)hit_line[0], (uint16_t)hit_len[0], 100U);
      }
      if (hit_len[1] > 0U)
      {
        (void)HAL_UART_Transmit(&huart1, (uint8_t *)hit_line[1], (uint16_t)hit_len[1], 100U);
      }
      if (evt_ready != 0U)
      {
        const size_t evt_len = strlen(evt_line);
        if (evt_len > 0U)
        {
          (void)HAL_UART_Transmit(&huart1, (uint8_t *)evt_line, (uint16_t)evt_len, 100U);
        }
      }
#if APP_USE_WIFI
      if (s_wifi_socket >= 0)
      {
        for (uint32_t hi = 0U; hi < 2U; hi++)
        {
          if (hit_len[hi] == 0U)
          {
            continue;
          }
          if (App_WifiSendAll((const uint8_t *)hit_line[hi], (uint16_t)hit_len[hi], 500U) != WIFI_STATUS_OK)
          {
            static uint32_t last_err_ms;
            if ((now - last_err_ms) >= 2000U)
            {
              last_err_ms = now;
              App_DebugUart1("[WiFi] WIFI_SendData failed\r\n");
            }
          }
        }
        if (evt_ready != 0U)
        {
          const size_t evt_len = strlen(evt_line);
          if (evt_len > 0U)
          {
            (void)App_WifiSendAll((const uint8_t *)evt_line, (uint16_t)evt_len, 500U);
          }
        }
      }
      else
      {
        if (s_wifi_ap_ok != 0U)
        {
          static uint32_t last_tcp_retry_ms;
          if ((now - last_tcp_retry_ms) >= 8000U)
          {
            last_tcp_retry_ms = now;
            if (WIFI_OpenClientConnection(0U, WIFI_TCP_PROTOCOL, "adc_tcp", s_wifi_remote_ip,
                                          APP_WIFI_REMOTE_PORT, 0U) == WIFI_STATUS_OK)
            {
              s_wifi_socket = 0;
              App_DebugUart1("[WiFi] TCP connected (retry)\r\n");
            }
          }
        }
        static uint32_t last_hint_ms;
        if ((now - last_hint_ms) >= 5000U)
        {
          last_hint_ms = now;
          App_DebugUart1("[WiFi] no socket: UART1 only; Python will stay empty\r\n");
        }
      }
#else
      if (hit_len[0] > 0U)
      {
        (void)HAL_UART_Transmit(&huart3, (uint8_t *)hit_line[0], (uint16_t)hit_len[0], 100U);
      }
      if (hit_len[1] > 0U)
      {
        (void)HAL_UART_Transmit(&huart3, (uint8_t *)hit_line[1], (uint16_t)hit_len[1], 100U);
      }
#endif
    }

    /* USER CODE END 3 */
  }
  /* USER CODE END 3 */
}

void SystemClock_Config(void)
{
  RCC_OscInitTypeDef RCC_OscInitStruct = {0};
  RCC_ClkInitTypeDef RCC_ClkInitStruct = {0};

  /** Configure the main internal regulator output voltage
  */
  if (HAL_PWREx_ControlVoltageScaling(PWR_REGULATOR_VOLTAGE_SCALE1) != HAL_OK)
  {
    Error_Handler();
  }

  /** Configure LSE Drive Capability
  */
  HAL_PWR_EnableBkUpAccess();
  __HAL_RCC_LSEDRIVE_CONFIG(RCC_LSEDRIVE_LOW);

  /** Initializes the RCC Oscillators according to the specified parameters
  * in the RCC_OscInitTypeDef structure.
  */
  RCC_OscInitStruct.OscillatorType = RCC_OSCILLATORTYPE_LSE|RCC_OSCILLATORTYPE_MSI;
  RCC_OscInitStruct.LSEState = RCC_LSE_ON;
  RCC_OscInitStruct.MSIState = RCC_MSI_ON;
  RCC_OscInitStruct.MSICalibrationValue = 0;
  RCC_OscInitStruct.MSIClockRange = RCC_MSIRANGE_6;
  RCC_OscInitStruct.PLL.PLLState = RCC_PLL_ON;
  RCC_OscInitStruct.PLL.PLLSource = RCC_PLLSOURCE_MSI;
  RCC_OscInitStruct.PLL.PLLM = 1;
  RCC_OscInitStruct.PLL.PLLN = 40;
  RCC_OscInitStruct.PLL.PLLP = RCC_PLLP_DIV7;
  RCC_OscInitStruct.PLL.PLLQ = RCC_PLLQ_DIV2;
  RCC_OscInitStruct.PLL.PLLR = RCC_PLLR_DIV2;
  if (HAL_RCC_OscConfig(&RCC_OscInitStruct) != HAL_OK)
  {
    Error_Handler();
  }

  /** Initializes the CPU, AHB and APB buses clocks
  */
  RCC_ClkInitStruct.ClockType = RCC_CLOCKTYPE_HCLK|RCC_CLOCKTYPE_SYSCLK
                              |RCC_CLOCKTYPE_PCLK1|RCC_CLOCKTYPE_PCLK2;
  RCC_ClkInitStruct.SYSCLKSource = RCC_SYSCLKSOURCE_PLLCLK;
  RCC_ClkInitStruct.AHBCLKDivider = RCC_SYSCLK_DIV1;
  RCC_ClkInitStruct.APB1CLKDivider = RCC_HCLK_DIV1;
  RCC_ClkInitStruct.APB2CLKDivider = RCC_HCLK_DIV1;

  if (HAL_RCC_ClockConfig(&RCC_ClkInitStruct, FLASH_LATENCY_4) != HAL_OK)
  {
    Error_Handler();
  }

  /** Enable MSI Auto calibration
  */
  HAL_RCCEx_EnableMSIPLLMode();
}

static void MX_DFSDM1_Init(void)
{

  hdfsdm1_channel1.Instance = DFSDM1_Channel1;
  hdfsdm1_channel1.Init.OutputClock.Activation = ENABLE;
  hdfsdm1_channel1.Init.OutputClock.Selection = DFSDM_CHANNEL_OUTPUT_CLOCK_SYSTEM;
  hdfsdm1_channel1.Init.OutputClock.Divider = 2;
  hdfsdm1_channel1.Init.Input.Multiplexer = DFSDM_CHANNEL_EXTERNAL_INPUTS;
  hdfsdm1_channel1.Init.Input.DataPacking = DFSDM_CHANNEL_STANDARD_MODE;
  hdfsdm1_channel1.Init.Input.Pins = DFSDM_CHANNEL_FOLLOWING_CHANNEL_PINS;
  hdfsdm1_channel1.Init.SerialInterface.Type = DFSDM_CHANNEL_SPI_RISING;
  hdfsdm1_channel1.Init.SerialInterface.SpiClock = DFSDM_CHANNEL_SPI_CLOCK_INTERNAL;
  hdfsdm1_channel1.Init.Awd.FilterOrder = DFSDM_CHANNEL_FASTSINC_ORDER;
  hdfsdm1_channel1.Init.Awd.Oversampling = 1;
  hdfsdm1_channel1.Init.Offset = 0;
  hdfsdm1_channel1.Init.RightBitShift = 0x00;
  if (HAL_DFSDM_ChannelInit(&hdfsdm1_channel1) != HAL_OK)
  {
    Error_Handler();
  }

}

static void MX_I2C2_Init(void)
{

  hi2c2.Instance = I2C2;
  hi2c2.Init.Timing = 0x10D19CE4;
  hi2c2.Init.OwnAddress1 = 0;
  hi2c2.Init.AddressingMode = I2C_ADDRESSINGMODE_7BIT;
  hi2c2.Init.DualAddressMode = I2C_DUALADDRESS_DISABLE;
  hi2c2.Init.OwnAddress2 = 0;
  hi2c2.Init.OwnAddress2Masks = I2C_OA2_NOMASK;
  hi2c2.Init.GeneralCallMode = I2C_GENERALCALL_DISABLE;
  hi2c2.Init.NoStretchMode = I2C_NOSTRETCH_DISABLE;
  if (HAL_I2C_Init(&hi2c2) != HAL_OK)
  {
    Error_Handler();
  }

  /** Configure Analogue filter
  */
  if (HAL_I2CEx_ConfigAnalogFilter(&hi2c2, I2C_ANALOGFILTER_ENABLE) != HAL_OK)
  {
    Error_Handler();
  }

  /** Configure Digital filter
  */
  if (HAL_I2CEx_ConfigDigitalFilter(&hi2c2, 0) != HAL_OK)
  {
    Error_Handler();
  }

}

static void MX_QUADSPI_Init(void)
{

  /* QUADSPI parameter configuration*/
  hqspi.Instance = QUADSPI;
  hqspi.Init.ClockPrescaler = 2;
  hqspi.Init.FifoThreshold = 4;
  hqspi.Init.SampleShifting = QSPI_SAMPLE_SHIFTING_HALFCYCLE;
  hqspi.Init.FlashSize = 23;
  hqspi.Init.ChipSelectHighTime = QSPI_CS_HIGH_TIME_1_CYCLE;
  hqspi.Init.ClockMode = QSPI_CLOCK_MODE_0;
  if (HAL_QSPI_Init(&hqspi) != HAL_OK)
  {
    Error_Handler();
  }

}

#if !APP_USE_WIFI
static void MX_SPI3_Init(void)
{

  /* SPI3 parameter configuration*/
  hspi3.Instance = SPI3;
  hspi3.Init.Mode = SPI_MODE_MASTER;
  hspi3.Init.Direction = SPI_DIRECTION_2LINES;
  hspi3.Init.DataSize = SPI_DATASIZE_4BIT;
  hspi3.Init.CLKPolarity = SPI_POLARITY_LOW;
  hspi3.Init.CLKPhase = SPI_PHASE_1EDGE;
  hspi3.Init.NSS = SPI_NSS_SOFT;
  hspi3.Init.BaudRatePrescaler = SPI_BAUDRATEPRESCALER_2;
  hspi3.Init.FirstBit = SPI_FIRSTBIT_MSB;
  hspi3.Init.TIMode = SPI_TIMODE_DISABLE;
  hspi3.Init.CRCCalculation = SPI_CRCCALCULATION_DISABLE;
  hspi3.Init.CRCPolynomial = 7;
  hspi3.Init.CRCLength = SPI_CRC_LENGTH_DATASIZE;
  hspi3.Init.NSSPMode = SPI_NSS_PULSE_ENABLE;
  if (HAL_SPI_Init(&hspi3) != HAL_OK)
  {
    Error_Handler();
  }

}
#endif

static void MX_USART1_UART_Init(void)
{

  huart1.Instance = USART1;
  huart1.Init.BaudRate = 115200;
  huart1.Init.WordLength = UART_WORDLENGTH_8B;
  huart1.Init.StopBits = UART_STOPBITS_1;
  huart1.Init.Parity = UART_PARITY_NONE;
  huart1.Init.Mode = UART_MODE_TX_RX;
  huart1.Init.HwFlowCtl = UART_HWCONTROL_NONE;
  huart1.Init.OverSampling = UART_OVERSAMPLING_16;
  huart1.Init.OneBitSampling = UART_ONE_BIT_SAMPLE_DISABLE;
  huart1.AdvancedInit.AdvFeatureInit = UART_ADVFEATURE_NO_INIT;
  if (HAL_UART_Init(&huart1) != HAL_OK)
  {
    Error_Handler();
  }

}

static void MX_USART3_UART_Init(void)
{

  huart3.Instance = USART3;
  huart3.Init.BaudRate = 115200;
  huart3.Init.WordLength = UART_WORDLENGTH_8B;
  huart3.Init.StopBits = UART_STOPBITS_1;
  huart3.Init.Parity = UART_PARITY_NONE;
  huart3.Init.Mode = UART_MODE_TX_RX;
  huart3.Init.HwFlowCtl = UART_HWCONTROL_NONE;
  huart3.Init.OverSampling = UART_OVERSAMPLING_16;
  huart3.Init.OneBitSampling = UART_ONE_BIT_SAMPLE_DISABLE;
  huart3.AdvancedInit.AdvFeatureInit = UART_ADVFEATURE_NO_INIT;
  if (HAL_UART_Init(&huart3) != HAL_OK)
  {
    Error_Handler();
  }

}

static void MX_USB_OTG_FS_PCD_Init(void)
{

  hpcd_USB_OTG_FS.Instance = USB_OTG_FS;
  hpcd_USB_OTG_FS.Init.dev_endpoints = 6;
  hpcd_USB_OTG_FS.Init.speed = PCD_SPEED_FULL;
  hpcd_USB_OTG_FS.Init.phy_itface = PCD_PHY_EMBEDDED;
  hpcd_USB_OTG_FS.Init.Sof_enable = DISABLE;
  hpcd_USB_OTG_FS.Init.low_power_enable = DISABLE;
  hpcd_USB_OTG_FS.Init.lpm_enable = DISABLE;
  hpcd_USB_OTG_FS.Init.battery_charging_enable = DISABLE;
  hpcd_USB_OTG_FS.Init.use_dedicated_ep1 = DISABLE;
  hpcd_USB_OTG_FS.Init.vbus_sensing_enable = DISABLE;
  if (HAL_PCD_Init(&hpcd_USB_OTG_FS) != HAL_OK)
  {
    Error_Handler();
  }

}

static void MX_GPIO_Init(void)
{
  GPIO_InitTypeDef GPIO_InitStruct = {0};

  /* GPIO Ports Clock Enable */
  __HAL_RCC_GPIOE_CLK_ENABLE();
  __HAL_RCC_GPIOC_CLK_ENABLE();
  __HAL_RCC_GPIOA_CLK_ENABLE();
  __HAL_RCC_GPIOB_CLK_ENABLE();
  __HAL_RCC_GPIOD_CLK_ENABLE();

  /*Configure GPIO pin Output Level */
  HAL_GPIO_WritePin(GPIOE, M24SR64_Y_RF_DISABLE_Pin|M24SR64_Y_GPO_Pin|ISM43362_RST_Pin, GPIO_PIN_RESET);

  /*Configure GPIO pin Output Level */
  HAL_GPIO_WritePin(GPIOA, ARD_D10_Pin|SPBTLE_RF_RST_Pin|ARD_D9_Pin, GPIO_PIN_RESET);

  /*Configure GPIO pin Output Level */
  HAL_GPIO_WritePin(GPIOB, ARD_D8_Pin|ISM43362_BOOT0_Pin|ISM43362_WAKEUP_Pin|LED2_Pin
                          |SPSGRF_915_SDN_Pin|ARD_D5_Pin, GPIO_PIN_RESET);

  /*Configure GPIO pin Output Level */
  HAL_GPIO_WritePin(GPIOD, USB_OTG_FS_PWR_EN_Pin|PMOD_RESET_Pin|STSAFE_A100_RESET_Pin, GPIO_PIN_RESET);

  /*Configure GPIO pin Output Level */
  HAL_GPIO_WritePin(SPBTLE_RF_SPI3_CSN_GPIO_Port, SPBTLE_RF_SPI3_CSN_Pin, GPIO_PIN_SET);

  /*Configure GPIO pin Output Level */
  HAL_GPIO_WritePin(GPIOC, VL53L0X_XSHUT_Pin|LED3_WIFI__LED4_BLE_Pin, GPIO_PIN_RESET);

  /*Configure GPIO pin Output Level */
  HAL_GPIO_WritePin(SPSGRF_915_SPI3_CSN_GPIO_Port, SPSGRF_915_SPI3_CSN_Pin, GPIO_PIN_SET);

  /*Configure GPIO pin Output Level */
  HAL_GPIO_WritePin(ISM43362_SPI3_CSN_GPIO_Port, ISM43362_SPI3_CSN_Pin, GPIO_PIN_SET);

  /*Configure GPIO pins : M24SR64_Y_RF_DISABLE_Pin M24SR64_Y_GPO_Pin ISM43362_RST_Pin ISM43362_SPI3_CSN_Pin */
  GPIO_InitStruct.Pin = M24SR64_Y_RF_DISABLE_Pin|M24SR64_Y_GPO_Pin|ISM43362_RST_Pin|ISM43362_SPI3_CSN_Pin;
  GPIO_InitStruct.Mode = GPIO_MODE_OUTPUT_PP;
  GPIO_InitStruct.Pull = GPIO_NOPULL;
  GPIO_InitStruct.Speed = GPIO_SPEED_FREQ_LOW;
  HAL_GPIO_Init(GPIOE, &GPIO_InitStruct);

  /*Configure GPIO pins : USB_OTG_FS_OVRCR_EXTI3_Pin SPSGRF_915_GPIO3_EXTI5_Pin SPBTLE_RF_IRQ_EXTI6_Pin ISM43362_DRDY_EXTI1_Pin */
  GPIO_InitStruct.Pin = USB_OTG_FS_OVRCR_EXTI3_Pin|SPSGRF_915_GPIO3_EXTI5_Pin|SPBTLE_RF_IRQ_EXTI6_Pin|ISM43362_DRDY_EXTI1_Pin;
  GPIO_InitStruct.Mode = GPIO_MODE_IT_RISING;
  GPIO_InitStruct.Pull = GPIO_NOPULL;
  HAL_GPIO_Init(GPIOE, &GPIO_InitStruct);

  /*Configure GPIO pin : BUTTON_EXTI13_Pin */
  GPIO_InitStruct.Pin = BUTTON_EXTI13_Pin;
  GPIO_InitStruct.Mode = GPIO_MODE_IT_FALLING;
  GPIO_InitStruct.Pull = GPIO_NOPULL;
  HAL_GPIO_Init(BUTTON_EXTI13_GPIO_Port, &GPIO_InitStruct);

  /*Configure GPIO pins : ARD_A5_Pin ARD_A4_Pin ARD_A3_Pin ARD_A2_Pin
                           ARD_A1_Pin ARD_A0_Pin */
  GPIO_InitStruct.Pin = ARD_A5_Pin|ARD_A4_Pin|ARD_A3_Pin|ARD_A2_Pin
                          |ARD_A1_Pin|ARD_A0_Pin;
  GPIO_InitStruct.Mode = GPIO_MODE_ANALOG_ADC_CONTROL;
  GPIO_InitStruct.Pull = GPIO_NOPULL;
  HAL_GPIO_Init(GPIOC, &GPIO_InitStruct);

  /*Configure GPIO pins : ARD_D1_Pin ARD_D0_Pin */
  GPIO_InitStruct.Pin = ARD_D1_Pin|ARD_D0_Pin;
  GPIO_InitStruct.Mode = GPIO_MODE_AF_PP;
  GPIO_InitStruct.Pull = GPIO_NOPULL;
  GPIO_InitStruct.Speed = GPIO_SPEED_FREQ_VERY_HIGH;
  GPIO_InitStruct.Alternate = GPIO_AF8_UART4;
  HAL_GPIO_Init(GPIOA, &GPIO_InitStruct);

  /*Configure GPIO pins : ARD_D10_Pin SPBTLE_RF_RST_Pin ARD_D9_Pin */
  GPIO_InitStruct.Pin = ARD_D10_Pin|SPBTLE_RF_RST_Pin|ARD_D9_Pin;
  GPIO_InitStruct.Mode = GPIO_MODE_OUTPUT_PP;
  GPIO_InitStruct.Pull = GPIO_NOPULL;
  GPIO_InitStruct.Speed = GPIO_SPEED_FREQ_LOW;
  HAL_GPIO_Init(GPIOA, &GPIO_InitStruct);

  /*Configure GPIO pin : ARD_D4_Pin */
  GPIO_InitStruct.Pin = ARD_D4_Pin;
  GPIO_InitStruct.Mode = GPIO_MODE_AF_PP;
  GPIO_InitStruct.Pull = GPIO_NOPULL;
  GPIO_InitStruct.Speed = GPIO_SPEED_FREQ_LOW;
  GPIO_InitStruct.Alternate = GPIO_AF1_TIM2;
  HAL_GPIO_Init(ARD_D4_GPIO_Port, &GPIO_InitStruct);

  /*Configure GPIO pin : ARD_D7_Pin */
  GPIO_InitStruct.Pin = ARD_D7_Pin;
  GPIO_InitStruct.Mode = GPIO_MODE_ANALOG_ADC_CONTROL;
  GPIO_InitStruct.Pull = GPIO_NOPULL;
  HAL_GPIO_Init(ARD_D7_GPIO_Port, &GPIO_InitStruct);

  /*Configure GPIO pins : ARD_D13_Pin ARD_D12_Pin ARD_D11_Pin */
  GPIO_InitStruct.Pin = ARD_D13_Pin|ARD_D12_Pin|ARD_D11_Pin;
  GPIO_InitStruct.Mode = GPIO_MODE_AF_PP;
  GPIO_InitStruct.Pull = GPIO_NOPULL;
  GPIO_InitStruct.Speed = GPIO_SPEED_FREQ_VERY_HIGH;
  GPIO_InitStruct.Alternate = GPIO_AF5_SPI1;
  HAL_GPIO_Init(GPIOA, &GPIO_InitStruct);

  /*Configure GPIO pin : ARD_D3_Pin */
  GPIO_InitStruct.Pin = ARD_D3_Pin;
  GPIO_InitStruct.Mode = GPIO_MODE_IT_RISING;
  GPIO_InitStruct.Pull = GPIO_NOPULL;
  HAL_GPIO_Init(ARD_D3_GPIO_Port, &GPIO_InitStruct);

  /*Configure GPIO pin : ARD_D6_Pin */
  GPIO_InitStruct.Pin = ARD_D6_Pin;
  GPIO_InitStruct.Mode = GPIO_MODE_ANALOG_ADC_CONTROL;
  GPIO_InitStruct.Pull = GPIO_NOPULL;
  HAL_GPIO_Init(ARD_D6_GPIO_Port, &GPIO_InitStruct);

  /*Configure GPIO pins : ARD_D8_Pin ISM43362_BOOT0_Pin ISM43362_WAKEUP_Pin LED2_Pin
                           SPSGRF_915_SDN_Pin ARD_D5_Pin SPSGRF_915_SPI3_CSN_Pin */
  GPIO_InitStruct.Pin = ARD_D8_Pin|ISM43362_BOOT0_Pin|ISM43362_WAKEUP_Pin|LED2_Pin
                          |SPSGRF_915_SDN_Pin|ARD_D5_Pin|SPSGRF_915_SPI3_CSN_Pin;
  GPIO_InitStruct.Mode = GPIO_MODE_OUTPUT_PP;
  GPIO_InitStruct.Pull = GPIO_NOPULL;
  GPIO_InitStruct.Speed = GPIO_SPEED_FREQ_LOW;
  HAL_GPIO_Init(GPIOB, &GPIO_InitStruct);

  /*Configure GPIO pins : LPS22HB_INT_DRDY_EXTI0_Pin LSM6DSL_INT1_EXTI11_Pin ARD_D2_Pin HTS221_DRDY_EXTI15_Pin
                           PMOD_IRQ_EXTI12_Pin */
  GPIO_InitStruct.Pin = LPS22HB_INT_DRDY_EXTI0_Pin|LSM6DSL_INT1_EXTI11_Pin|ARD_D2_Pin|HTS221_DRDY_EXTI15_Pin
                          |PMOD_IRQ_EXTI12_Pin;
  GPIO_InitStruct.Mode = GPIO_MODE_IT_RISING;
  GPIO_InitStruct.Pull = GPIO_NOPULL;
  HAL_GPIO_Init(GPIOD, &GPIO_InitStruct);

  /*Configure GPIO pins : USB_OTG_FS_PWR_EN_Pin SPBTLE_RF_SPI3_CSN_Pin PMOD_RESET_Pin STSAFE_A100_RESET_Pin */
  GPIO_InitStruct.Pin = USB_OTG_FS_PWR_EN_Pin|SPBTLE_RF_SPI3_CSN_Pin|PMOD_RESET_Pin|STSAFE_A100_RESET_Pin;
  GPIO_InitStruct.Mode = GPIO_MODE_OUTPUT_PP;
  GPIO_InitStruct.Pull = GPIO_NOPULL;
  GPIO_InitStruct.Speed = GPIO_SPEED_FREQ_LOW;
  HAL_GPIO_Init(GPIOD, &GPIO_InitStruct);

  /*Configure GPIO pins : VL53L0X_XSHUT_Pin LED3_WIFI__LED4_BLE_Pin */
  GPIO_InitStruct.Pin = VL53L0X_XSHUT_Pin|LED3_WIFI__LED4_BLE_Pin;
  GPIO_InitStruct.Mode = GPIO_MODE_OUTPUT_PP;
  GPIO_InitStruct.Pull = GPIO_NOPULL;
  GPIO_InitStruct.Speed = GPIO_SPEED_FREQ_LOW;
  HAL_GPIO_Init(GPIOC, &GPIO_InitStruct);

  /*Configure GPIO pins : VL53L0X_GPIO1_EXTI7_Pin LSM3MDL_DRDY_EXTI8_Pin */
  GPIO_InitStruct.Pin = VL53L0X_GPIO1_EXTI7_Pin|LSM3MDL_DRDY_EXTI8_Pin;
  GPIO_InitStruct.Mode = GPIO_MODE_IT_RISING;
  GPIO_InitStruct.Pull = GPIO_NOPULL;
  HAL_GPIO_Init(GPIOC, &GPIO_InitStruct);

  /*Configure GPIO pin : PMOD_SPI2_SCK_Pin */
  GPIO_InitStruct.Pin = PMOD_SPI2_SCK_Pin;
  GPIO_InitStruct.Mode = GPIO_MODE_AF_PP;
  GPIO_InitStruct.Pull = GPIO_NOPULL;
  GPIO_InitStruct.Speed = GPIO_SPEED_FREQ_VERY_HIGH;
  GPIO_InitStruct.Alternate = GPIO_AF5_SPI2;
  HAL_GPIO_Init(PMOD_SPI2_SCK_GPIO_Port, &GPIO_InitStruct);

  /*Configure GPIO pins : PMOD_UART2_CTS_Pin PMOD_UART2_RTS_Pin PMOD_UART2_TX_Pin PMOD_UART2_RX_Pin */
  GPIO_InitStruct.Pin = PMOD_UART2_CTS_Pin|PMOD_UART2_RTS_Pin|PMOD_UART2_TX_Pin|PMOD_UART2_RX_Pin;
  GPIO_InitStruct.Mode = GPIO_MODE_AF_PP;
  GPIO_InitStruct.Pull = GPIO_NOPULL;
  GPIO_InitStruct.Speed = GPIO_SPEED_FREQ_VERY_HIGH;
  GPIO_InitStruct.Alternate = GPIO_AF7_USART2;
  HAL_GPIO_Init(GPIOD, &GPIO_InitStruct);

  /*Configure GPIO pins : ARD_D15_Pin ARD_D14_Pin */
  GPIO_InitStruct.Pin = ARD_D15_Pin|ARD_D14_Pin;
  GPIO_InitStruct.Mode = GPIO_MODE_AF_OD;
  GPIO_InitStruct.Pull = GPIO_NOPULL;
  GPIO_InitStruct.Speed = GPIO_SPEED_FREQ_VERY_HIGH;
  GPIO_InitStruct.Alternate = GPIO_AF4_I2C1;
  HAL_GPIO_Init(GPIOB, &GPIO_InitStruct);

  /* EXTI interrupt init*/
  HAL_NVIC_SetPriority(EXTI9_5_IRQn, 0, 0);
  HAL_NVIC_EnableIRQ(EXTI9_5_IRQn);

  HAL_NVIC_SetPriority(EXTI15_10_IRQn, 0, 0);
  HAL_NVIC_EnableIRQ(EXTI15_10_IRQn);

}

/* USER CODE BEGIN 4 */

void HAL_GPIO_EXTI_Callback(uint16_t GPIO_Pin)
{
  if (GPIO_Pin == BUTTON_EXTI13_Pin)
  {
    s_calib_request = 1U;
  }
#if APP_USE_WIFI
  if (GPIO_Pin == ISM43362_DRDY_EXTI1_Pin)
  {
    SPI_WIFI_ISR();
  }
#endif
}

/* USER CODE END 4 */

void Error_Handler(void)
{
  __disable_irq();
  while (1)
  {
  }
}
